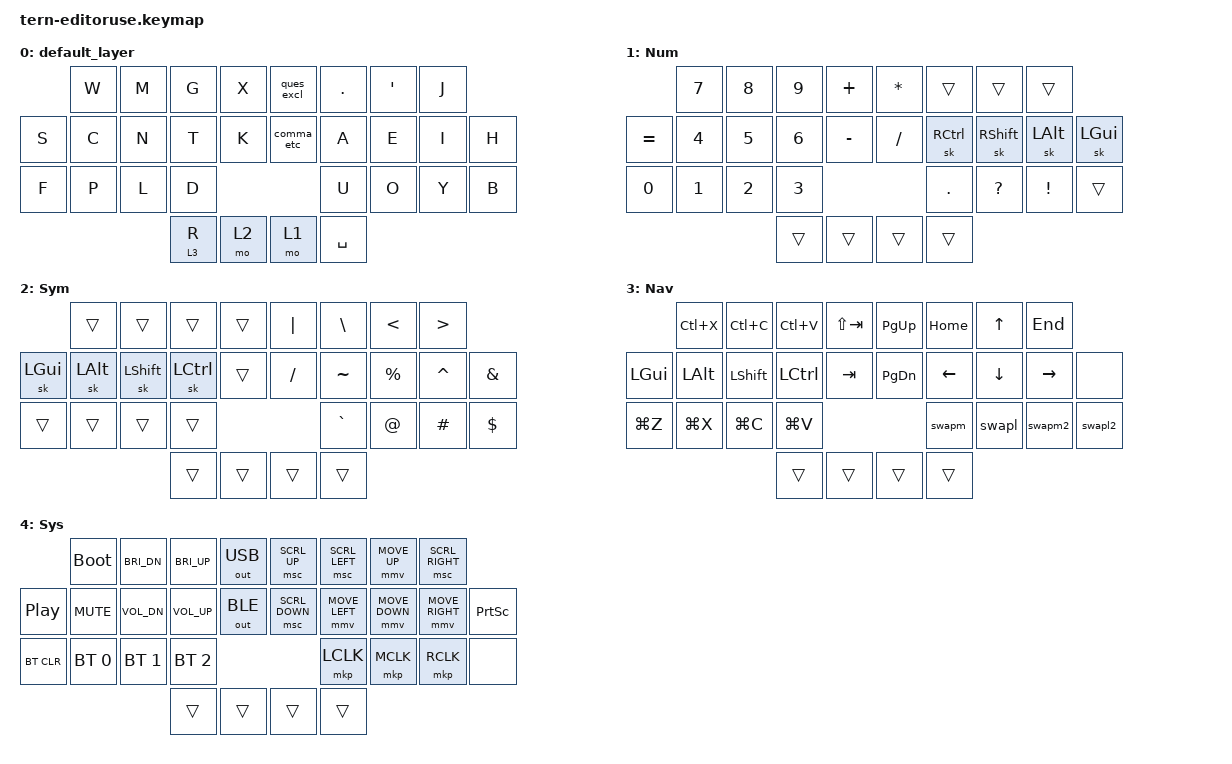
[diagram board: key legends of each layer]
/*
 * Copyright (c) 2022 The ZMK Contributors
 *
 * SPDX-License-Identifier: MIT
 */

#include <behaviors.dtsi>
#include <dt-bindings/zmk/bt.h>
#include <dt-bindings/zmk/keys.h>
#include <dt-bindings/zmk/outputs.h>
#include <dt-bindings/zmk/pointing.h>

#define DEF_L 0
#define NAV_L 1
#define NUM_L 2
#define SYM_L 3
#define SYS_L 4

// Using layer taps on thumbs, having quick tap as well helps w/ repeating space/backspace

&lt { quick_tap_ms = <200>; };

/ {
    behaviors {
        skq: sticky_key_quick_release {
            compatible = "zmk,behavior-sticky-key";
            #binding-cells = <1>;
            bindings = <&kp>;
            release-after-ms = <1000>;
            quick-release;
            ignore-modifiers;
        };

        sticky_tap_layer: sticky_tap_layer {
            compatible = "zmk,behavior-hold-tap";
            label = "STICKY_TAP_LAYER";
            bindings = <&mo>, <&skq>;

            #binding-cells = <2>;
            tapping-term-ms = <200>;
            quick-tap-ms = <150>;
            require-prior-idle-ms = <(-1)>;
        };

        swapm: swapm {
            compatible = "zmk,behavior-tri-state";
            label = "SWAPM";
            #binding-cells = <0>;
            bindings = <&kt LGUI>, <&kp TAB>, <&kt LGUI>;

            ignored-key-positions = <10>;
        };

        swapl: swapl {
            compatible = "zmk,behavior-tri-state";
            label = "SWAPL";
            #binding-cells = <0>;
            bindings = <&kt LALT>, <&kp TAB>, <&kt LALT>;

            ignored-key-positions = <10>;
        };

        swapm2: swapm2 {
            compatible = "zmk,behavior-tri-state";
            label = "SWAPM2";
            #binding-cells = <0>;
            bindings = <&kt LGUI>, <&kp GRAVE>, <&kt LGUI>;

            ignored-key-positions = <10>;
        };

        swapl2: swapl2 {
            compatible = "zmk,behavior-tri-state";
            label = "SWAPL2";
            #binding-cells = <0>;
            bindings = <&kt LALT>, <&kp GRAVE>, <&kt LALT>;

            ignored-key-positions = <10>;
        };

        comma_etc: comma_etc {
            compatible = "zmk,behavior-tap-dance";
            label = "COMMA_ETC";
            #binding-cells = <0>;
            bindings = <&kp COMMA>, <&kp SEMICOLON>, <&kp COLON>;
        };

        ques_excl: ques_excl {
            compatible = "zmk,behavior-tap-dance";
            label = "QUES_EXCL";
            #binding-cells = <0>;
            bindings = <&kp QUESTION>, <&kp EXCLAMATION>;
        };
    };

    combos {
        compatible = "zmk,combos";

        // Activate system layer on inner thumbs

        combo_z {
            timeout-ms = <50>;
            key-positions = <0 8>;
            bindings = <&kp Z>;
        };

        combo_p {
            timeout-ms = <50>;
            key-positions = <2 3>;
            bindings = <&kp Q>;
        };

        combo_b {
            timeout-ms = <50>;
            key-positions = <21 12>;
            bindings = <&kp X>;
        };

        combo_y {
            timeout-ms = <50>;
            key-positions = <13 22>;
            bindings = <&kp B>;
        };

        combo_esc {
            bindings = <&kp ESCAPE>;
            key-positions = <1 0>;
        };

        combo_bspc {
            bindings = <&kp BSPC>;
            key-positions = <22 23>;
            layers = <0>;
        };

        combo_del {
            bindings = <&kp DELETE>;
            key-positions = <23 24>;
            layers = <0>;
        };

        combo_caps {
            bindings = <&kp CAPSLOCK>;
            key-positions = <19 20>;
            layers = <0>;
        };

        combo_lbrc {
            bindings = <&kp LBRC>;
            key-positions = <18 19>;
            layers = <1 2>;
        };

        combo_rbrc {
            bindings = <&kp RBRC>;
            key-positions = <25 24>;
            layers = <1 2>;
        };

        combo_lbrack {
            bindings = <&kp LBKT>;
            key-positions = <19 20>;
            layers = <1 2>;
        };

        combo_rbrack {
            bindings = <&kp RBKT>;
            key-positions = <23 24>;
            layers = <1 2>;
        };

        combo_lparen {
            bindings = <&kp LPAR>;
            key-positions = <20 21>;
            layers = <1 2>;
        };

        combo_rparen {
            bindings = <&kp RIGHT_PARENTHESIS>;
            key-positions = <22 23>;
            layers = <1 2>;
        };

        combo_bspc2 {
            bindings = <&kp BSPC>;
            key-positions = <21 20>;
            layers = <0>;
        };

        combo_capsword {
            bindings = <&caps_word>;
            key-positions = <9 10>;
            layers = <0>;
        };
    };

    keymap {
        compatible = "zmk,keymap";

        default_layer {
            bindings = <
         &kp W  &kp M  &kp G                  &kp X    &ques_excl  &kp DOT    &kp SQT  &kp J
  &kp S  &kp C  &kp N  &kp T                  &kp K    &comma_etc  &kp A      &kp E    &kp I  &kp H
  &kp F  &kp P  &kp L  &kp D                                       &kp U      &kp O    &kp Y  &kp B
                       &sticky_tap_layer 3 R  &mo 2    &mo 1       &kp SPACE
            >;
        };

        num_layer {
            display-name = "Num";
            bindings = <
             &kp N7  &kp N8  &kp N9  &kp PLUS     &kp ASTERISK  &trans      &trans     &trans
  &kp EQUAL  &kp N4  &kp N5  &kp N6  &kp MINUS    &kp SLASH     &sk RCTRL   &sk RSHFT  &sk LEFT_ALT  &sk LGUI
  &kp N0     &kp N1  &kp N2  &kp N3                             &kp PERIOD  &kp QMARK  &kp EXCL      &trans
                             &trans  &trans       &trans        &trans
            >;
        };

        sym_layer {
            display-name = "Sym";
            bindings = <
            &trans    &trans      &trans     &trans    &kp PIPE   &kp BACKSLASH  &kp LT     &kp GT
  &sk LGUI  &sk LALT  &sk LSHIFT  &sk LCTRL  &trans    &kp SLASH  &kp TILDE      &kp PRCNT  &kp CARET  &kp AMPS
  &trans    &trans    &trans      &trans                          &kp GRAVE      &kp AT     &kp HASH   &kp DLLR
                                  &trans     &trans    &trans     &trans
            >;
        };

        nav_layer {
            display-name = "Nav";
            bindings = <
             &kp LC(X)  &kp LC(C)  &kp LC(V)  &kp LS(TAB)    &kp PG_UP  &kp HOME        &kp UP_ARROW    &kp END
  &kp LGUI   &kp LALT   &kp LSHFT  &kp LCTRL  &kp TAB        &kp PG_DN  &kp LEFT_ARROW  &kp DOWN_ARROW  &kp RIGHT_ARROW  &none
  &kp LG(Z)  &kp LG(X)  &kp LG(C)  &kp LG(V)                            &swapm          &swapl          &swapm2          &swapl2
                                   &trans     &trans         &trans     &trans
            >;
        };

        sys_layer {
            display-name = "Sys";
            bindings = <
                    &bootloader   &kp C_BRI_DN  &kp C_BRI_UP  &out OUT_USB    &msc SCRL_UP    &msc SCRL_LEFT  &mmv MOVE_UP    &msc SCRL_RIGHT
  &kp C_PLAY_PAUSE  &kp C_MUTE    &kp C_VOL_DN  &kp C_VOL_UP  &out OUT_BLE    &msc SCRL_DOWN  &mmv MOVE_LEFT  &mmv MOVE_DOWN  &mmv MOVE_RIGHT  &kp PRINTSCREEN
  &bt BT_CLR        &bt BT_SEL 0  &bt BT_SEL 1  &bt BT_SEL 2                                  &mkp LCLK       &mkp MCLK       &mkp RCLK        &none
                                                &trans        &trans          &trans          &trans
            >;
        };
    };

    conditional_layers {
        compatible = "zmk,conditional-layers";

        System-triple {
            if-layers = <1 2>;
            then-layer = <4>;
        };
    };
};
